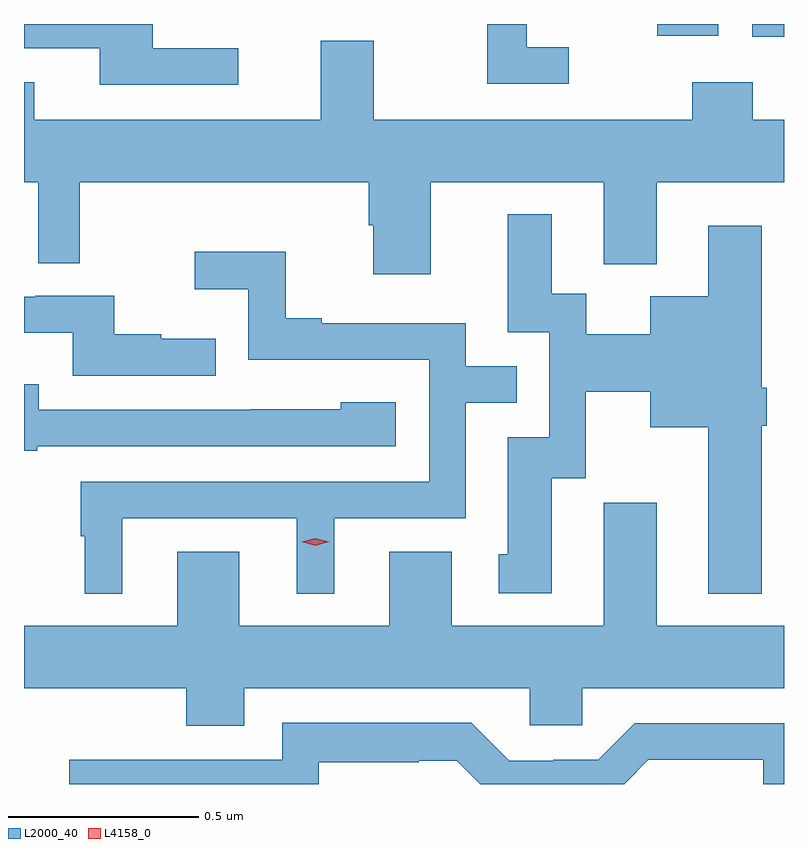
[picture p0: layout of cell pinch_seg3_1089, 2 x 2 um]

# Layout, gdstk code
import gdstk
lib = gdstk.Library(unit=1e-6, precision=1e-09)
def R(c, l, rs):  # rectangles x0, y0, x1, y1
    for r in rs: c.add(gdstk.rectangle(r[:2], r[2:], *l))
def P(c, l, *ps):  # polygons
    for p in ps: c.add(gdstk.Polygon(p, *l))
L2000_40 = (2000, 40)
L4158_0 = (4158, 0)

pinch_seg3_1089 = lib.new_cell('pinch_seg3_1089')
R(pinch_seg3_1089, L2000_40, [(259.518,702.631,259.602,702.664), (259.268,702.633,259.429,702.664)])
P(pinch_seg3_1089, L2000_40, [(259.036,702.603),(258.925,702.603),(258.925,702.664),(258.821,702.664),(258.821,702.507),(259.036,702.507)],
  [(258.166,702.6),(257.941,702.6),(257.941,702.664),(257.602,702.664),(257.602,702.6),(257.801,702.6),(257.801,702.504),(258.166,702.504)],
  [(258.383,702.412),(257.629,702.412),(257.629,702.511),(257.602,702.511),(257.602,702.248),(257.64,702.248),(257.64,702.034),(257.749,702.034),(257.749,702.248),(258.509,702.248),(258.509,702.135),(258.521,702.135),(258.521,702.006),(258.673,702.006),(258.673,702.248),(259.127,702.248),(259.127,702.032),(259.267,702.032),(259.267,702.248),(259.602,702.248),(259.602,702.412),(259.52,702.412),(259.52,702.511),(259.36,702.511),(259.36,702.412),(258.523,702.412),(258.523,702.62),(258.383,702.62)],
  [(259.543,701.607),(259.556,701.607),(259.556,701.707),(259.543,701.707),(259.543,702.133),(259.403,702.133),(259.403,701.947),(259.25,701.947),(259.25,701.848),(259.081,701.848),(259.081,701.954),(258.991,701.954),(258.991,702.163),(258.875,702.163),(258.875,701.853),(258.984,701.853),(258.984,701.577),(258.875,701.577),(258.875,701.268),(258.851,701.268),(258.851,701.166),(258.991,701.166),(258.991,701.469),(259.08,701.469),(259.08,701.696),(259.25,701.696),(259.25,701.603),(259.403,701.603),(259.403,701.165),(259.543,701.165)],
  [(257.86,701.364),(258.32,701.364),(258.32,701.165),(258.418,701.165),(258.418,701.364),(258.765,701.364),(258.765,701.667),(258.899,701.667),(258.899,701.763),(258.765,701.763),(258.765,701.877),(258.385,701.877),(258.385,701.89),(258.291,701.89),(258.291,702.065),(258.051,702.065),(258.051,701.966),(258.192,701.966),(258.192,701.781),(258.669,701.781),(258.669,701.46),(257.751,701.46),(257.751,701.316),(257.762,701.316),(257.762,701.165),(257.86,701.165)],
  [(258.107,701.836),(257.963,701.836),(257.963,701.848),(257.84,701.848),(257.84,701.949),(257.632,701.949),(257.632,701.946),(257.602,701.946),(257.602,701.852),(257.73,701.852),(257.73,701.739),(258.107,701.739)],
  [(257.637,701.553),(258.58,701.553),(258.58,701.668),(258.435,701.668),(258.435,701.65),(258.199,701.65),(258.199,701.649),(257.641,701.649),(257.641,701.716),(257.602,701.716),(257.602,701.541),(257.637,701.541)],
  [(259.128,701.404),(259.128,701.291),(259.127,701.291),(259.127,701.08),(258.727,701.08),(258.727,701.275),(258.563,701.275),(258.563,701.08),(258.169,701.08),(258.169,701.275),(258.005,701.275),(258.005,701.08),(257.602,701.08),(257.602,700.916),(258.029,700.916),(258.029,700.817),(258.181,700.817),(258.181,700.916),(258.933,700.916),(258.933,700.818),(259.071,700.818),(259.071,700.916),(259.602,700.916),(259.602,701.08),(259.267,701.08),(259.267,701.404)],
  [(258.378,700.721),(258.641,700.721),(258.641,700.725),(258.741,700.725),(258.802,700.664),(259.181,700.664),(259.245,700.728),(259.548,700.728),(259.548,700.664),(259.602,700.664),(259.602,700.824),(259.209,700.824),(259.113,700.728),(258.995,700.728),(258.995,700.725),(258.879,700.725),(258.779,700.825),(258.282,700.825),(258.282,700.728),(257.721,700.728),(257.721,700.664),(258.378,700.664)])
P(pinch_seg3_1089, L4158_0, [(258.369,701.291),(258.333,701.301),(258.333,701.301),(258.333,701.301),(258.369,701.311),(258.405,701.301),(258.405,701.301),(258.405,701.301)])

lib.write_gds('pinch_seg3_1089.gds')
